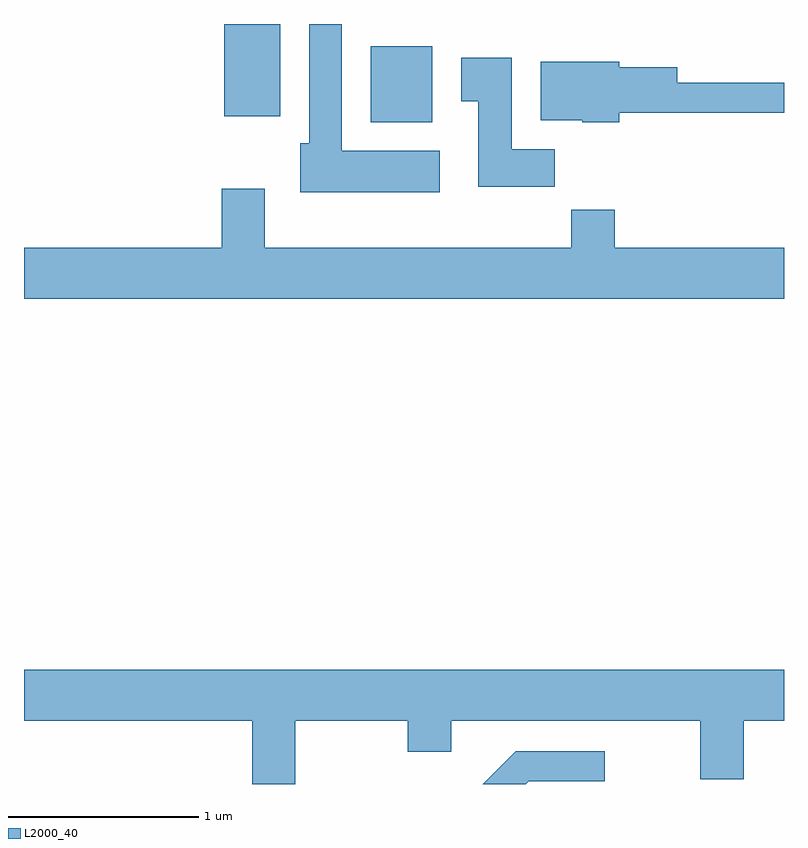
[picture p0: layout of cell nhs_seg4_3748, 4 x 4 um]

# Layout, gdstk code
import gdstk
lib = gdstk.Library(unit=1e-6, precision=1e-09)
def R(c, l, rs):  # rectangles x0, y0, x1, y1
    for r in rs: c.add(gdstk.rectangle(r[:2], r[2:], *l))
def P(c, l, *ps):  # polygons
    for p in ps: c.add(gdstk.Polygon(p, *l))
L2000_40 = (2000, 40)

nhs_seg4_3748 = lib.new_cell('nhs_seg4_3748')
R(nhs_seg4_3748, L2000_40, [(297.436,1273.466,297.759,1273.864), (296.666,1273.496,296.959,1273.982)])
P(nhs_seg4_3748, L2000_40, [(297.799,1273.314),(297.284,1273.314),(297.284,1273.982),(297.111,1273.982),(297.111,1273.354),(297.066,1273.354),(297.066,1273.096),(297.799,1273.096)],
  [(298.404,1273.324),(298.179,1273.324),(298.179,1273.804),(297.911,1273.804),(297.911,1273.576),(298.001,1273.576),(298.001,1273.126),(298.404,1273.126)],
  [(298.744,1273.516),(299.611,1273.516),(299.611,1273.674),(299.049,1273.674),(299.049,1273.754),(298.744,1273.754),(298.744,1273.784),(298.331,1273.784),(298.331,1273.476),(298.55,1273.476),(298.55,1273.466),(298.744,1273.466)],
  [(299.611,1272.804),(298.719,1272.804),(298.719,1273.004),(298.491,1273.004),(298.491,1272.804),(296.879,1272.804),(296.879,1273.114),(296.651,1273.114),(296.651,1272.804),(295.611,1272.804),(295.611,1272.536),(299.611,1272.536)],
  [(297.039,1270.316),(297.631,1270.316),(297.631,1270.151),(297.859,1270.151),(297.859,1270.316),(299.171,1270.316),(299.171,1270.006),(299.399,1270.006),(299.399,1270.316),(299.611,1270.316),(299.611,1270.584),(295.611,1270.584),(295.611,1270.316),(296.811,1270.316),(296.811,1269.982),(297.039,1269.982)],
  [(298.267,1269.996),(298.668,1269.996),(298.668,1270.154),(298.199,1270.154),(298.026,1269.982),(298.253,1269.982)])

lib.write_gds('nhs_seg4_3748.gds')
